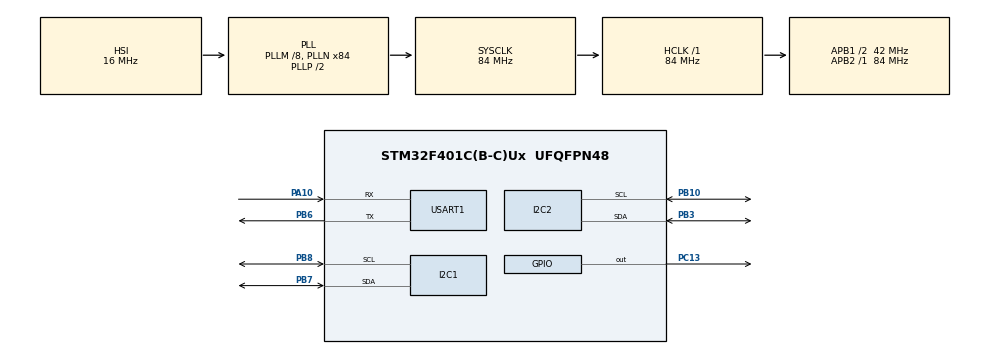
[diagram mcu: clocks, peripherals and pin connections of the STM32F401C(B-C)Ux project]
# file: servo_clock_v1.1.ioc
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Mcu.Family=STM32F4
Mcu.Name=STM32F401C(B-C)Ux
Mcu.Package=UFQFPN48
NVIC.PriorityGroup=NVIC_PRIORITYGROUP_4
NVIC.USART1_IRQn=true\:0\:0\:false\:false\:true\:true\:true
PA10.Mode=Asynchronous
PA10.Signal=USART1_RX
PA13.Mode=Serial_Wire
PA13.Signal=SYS_JTMS-SWDIO
PA14.Mode=Serial_Wire
PA14.Signal=SYS_JTCK-SWCLK
PB10.Mode=I2C
PB10.Signal=I2C2_SCL
PB3.Mode=I2C
PB3.Signal=I2C2_SDA
PB6.Mode=Asynchronous
PB6.Signal=USART1_TX
PB7.Mode=I2C
PB7.Signal=I2C1_SDA
PB8.Mode=I2C
PB8.Signal=I2C1_SCL
PC13-ANTI_TAMP.Signal=GPIO_Output
PH0\ -\ OSC_IN.Mode=HSE-External-Oscillator
PH0\ -\ OSC_IN.Signal=RCC_OSC_IN
PH1\ -\ OSC_OUT.Mode=HSE-External-Oscillator
PH1\ -\ OSC_OUT.Signal=RCC_OSC_OUT
ProjectManager.HeapSize=0x200
ProjectManager.StackSize=0x400
ProjectManager.TargetToolchain=STM32CubeIDE
RCC.48MHZClocksFreq_Value=42000000
RCC.AHBFreq_Value=84000000
RCC.APB1CLKDivider=RCC_HCLK_DIV2
RCC.APB1Freq_Value=42000000
RCC.APB1TimFreq_Value=84000000
RCC.APB2Freq_Value=84000000
RCC.APB2TimFreq_Value=84000000
RCC.CortexFreq_Value=84000000
RCC.HCLKFreq_Value=84000000
RCC.HSE_VALUE=25000000
RCC.HSI_VALUE=16000000
RCC.LSE_VALUE=32768
RCC.PLLM=8
RCC.PLLN=84
RCC.SYSCLKFreq_VALUE=84000000
RCC.SYSCLKSource=RCC_SYSCLKSOURCE_PLLCLK
RCC.VCOOutputFreq_Value=168000000
USART1.VirtualMode=VM_ASYNC
board=custom

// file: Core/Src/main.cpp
/* USER CODE BEGIN Header */
/**
  ******************************************************************************
  * @file           : main.c
  * @brief          : Main program body
  ******************************************************************************
  * @attention
  *
  * <h2><center>&copy; Copyright (c) 2021 STMicroelectronics.
  * All rights reserved.</center></h2>
  *
  * This software component is licensed by ST under BSD 3-Clause license,
  * the "License"; You may not use this file except in compliance with the
  * License. You may obtain a copy of the License at:
  *                        opensource.org/licenses/BSD-3-Clause
  *
  ******************************************************************************
  */
/* USER CODE END Header */
#include "main.h"
#include "i2c.h"
#include "usart.h"
#include "gpio.h"

/* USER CODE BEGIN Includes */
#include "ds3231.h"
#include "pca9685.h"
#include "stdio.h"
/* USER CODE END Includes */

/* USER CODE BEGIN PD */
#define PCA9685_SERVO_MODE
#define sleepDigits 11
/* USER CODE END PD */

/* USER CODE BEGIN PV */
//times
struct ts time;
//PWM on and off
int hourOFF[16] = {460,445,445,444,445,460,460,0,445,455,455,440,460,445,445,0};
int hourON[16]	= {266,255,250,245,260,266,271,0,250,265,260,250,280,250,260,0};
int minOFF[16]	= {450,455,435,460,445,455,435,0,440,460,430,440,465,445,435,0};
int minON[16]	= {252,263,252,279,248,260,243,0,253,280,245,245,282,260,240,0};
//Position values for each digit from 0 to 9 and ---- (sleep mode)
int digits[11][7] = {{1,1,1,1,1,1,0},{0,1,1,0,0,0,0},{1,1,0,1,1,0,1},{1,1,1,1,0,0,1},{0,1,1,0,0,1,1},
    {1,0,1,1,0,1,1},{1,0,1,1,1,1,1},{1,1,1,0,0,0,0},{1,1,1,1,1,1,1},{1,1,1,1,0,1,1},{0,0,0,0,0,0,0}};

int swTens, prevSwTens, sw, prevSw;
int secTens, prevSecTens, sec, prevSec;
int minTens, prevMinTens, min, prevMin;
int hourTens, prevHourTens, hour, prevHour;
int midOffset = 100;            //Amount by which adjacent segments to the middle move away when required
int tempHour, tempMin, tempSec;
bool setTimeFlag = true;
bool sleepModeState = false;
bool Switched = false;

/* USER CODE END PV */

void SystemClock_Config(void);
/* USER CODE BEGIN PFP */
pca8586 PWM_dev2(0x40<<1, &hi2c2); //class minutes digits
pca8586 PWM_dev1(0x41<<1, &hi2c2); //class hours digits
/* USER CODE END PFP */

/* USER CODE BEGIN 0 */
//sleep mode
void sleepMode()
{
	for (int j = 0; j <15; j++) {
		PWM_dev1.SetPwm(j, 0, hourOFF[j]);
		HAL_Delay(100);
	}
	for (int j = 0; j <15; j++) {
		PWM_dev2.SetPwm(j, 0, minOFF[j]);
		HAL_Delay(100);
	}
}
//update servo segments
//void updateDisplay()
//{
//
//}
//Function to move the middle segments and adjacent ones out of the way
void updateMid()
{
	//----------------------------------------------------//
	// Move adjacent segments for Minute and second units //
	//----------------------------------------------------//

	if (digits[swTens][6] != digits[prevSwTens][6]) {
		if (digits[prevSwTens][1] == 1)
			PWM_dev2.SetPwm(1, 0, minON[1] + midOffset);
		if (digits[prevSwTens][6] == 1)
			PWM_dev2.SetPwm(5, 0, minOFF[5] - midOffset);
	}
	HAL_Delay(100); //Delay allows adjacent segments to move before moving middle
	if (digits[swTens][6] == 1)  //Move Minute units middle segment if required
		PWM_dev2.SetPwm(6, 0, minON[6]);
	else
		PWM_dev2.SetPwm(6, 0, minOFF[6]);

	if (digits[sw][6] != digits[prevSw][6]) //Move adjacent segments for Minute tens
			{
		if (digits[prevSw][1] == 1)
			PWM_dev2.SetPwm(9, 0, minON[9] + midOffset);
		if (digits[prevSw][6] == 1)
			PWM_dev2.SetPwm(13, 0, minOFF[13] - midOffset);
	}
	HAL_Delay(100); //Delay allows adjacent segments to move before moving middle
	if (digits[sw][6] == 1)       //Move Minute tens middle segment if required
		PWM_dev2.SetPwm(14, 0, minON[14]);
	else
		PWM_dev2.SetPwm(14, 0, minOFF[14]);

	//====================================================================//

	//-----------------------------------------//
	//  Move adjacent segments for Hour units  //
	//-----------------------------------------//

	if (digits[hourTens][6] != digits[prevHourTens][6]) //Move adjacent segments for Minute units
			{
		if (digits[prevHourTens][1] == 1)
			PWM_dev1.SetPwm(1, 0, hourON[1] + midOffset);
		if (digits[prevHourTens][6] == 1)
			PWM_dev1.SetPwm(5, 0, hourOFF[5] - midOffset);
	}
	HAL_Delay(100); //Delay allows adjacent segments to move before moving middle
	if (digits[hourTens][6] == 1) //Move Minute units middle segment if required
		PWM_dev1.SetPwm(6, 0, hourON[6]);
	else
		PWM_dev1.SetPwm(6, 0, hourOFF[6]);

	if (digits[hour][6] != digits[prevHour][6]) //Move adjacent segments for Minute tens
			{
		if (digits[prevHour][1] == 1)
			PWM_dev1.SetPwm(9, 0, hourON[9] + midOffset);
		if (digits[prevHour][6] == 1)
			PWM_dev1.SetPwm(13, 0, hourOFF[13] - midOffset);
	}
	HAL_Delay(100); //Delay allows adjacent segments to move before moving middle
	if (digits[hour][6] == 1)      //Move Minute tens middle segment if required
		PWM_dev1.SetPwm(14, 0, hourON[14]);
	else
		PWM_dev1.SetPwm(14, 0, hourOFF[14]);
}
/* USER CODE END 0 */

int main(void)
{

  /* MCU Configuration--------------------------------------------------------*/

  /* Reset of all peripherals, Initializes the Flash interface and the Systick. */
  HAL_Init();

  /* Configure the system clock */
  SystemClock_Config();

  /* Initialize all configured peripherals */
  MX_GPIO_Init();
  MX_I2C1_Init();
  MX_I2C2_Init();
  MX_USART1_UART_Init();
  /* USER CODE BEGIN 2 */
  //Initial PWM drivers
  PWM_dev2.Init();
  PWM_dev1.Init();
  DS3231_IIC(&hi2c1);
  //off all digits
	for (int j = 0; j <15; j++) {
		PWM_dev1.SetPwm(j, 0, hourOFF[j]);
		HAL_Delay(80);
	}
	for (int j = 0; j <15; j++) {
		PWM_dev2.SetPwm(j, 0, minOFF[j]);
		HAL_Delay(80);
	}
	//set times (only once)
	//DS3231_setTime(55, 59, 23, 3, 8, 12, 21);
	DS3231_getTime(&time);//Get time
	//char data[20];
  /* USER CODE END 2 */

  /* Infinite loop */
  /* USER CODE BEGIN WHILE */
  while (1)
  {

		DS3231_getTime(&time);   //Get time
		tempHour = time.hour; 	 //Get the hours and save to variable
		tempMin = time.min;      //Get the minutes and save to variable
		tempSec = time.sec;      //Get the second and save to variable
		//switch minute to second at 11:58 for 2 minutes
		if (tempHour == 23 && tempMin >= 58 && tempMin <= 59) Switched = true;
		else Switched = false;
		//let it sleep from 7:00 PM to 6 AM
		if (tempHour >= 7 && tempHour <= 18) sleepModeState = true;
		else sleepModeState = false;
		//12 hour Mode
		if (tempHour > 12)
			tempHour = tempHour - 12;
		if(tempHour == 0)
			tempHour = 12;
		//Split hours into two digits, tens and units
		hourTens = tempHour / 10;
		hour = tempHour % 10;
		//Split minutes into two digits, tens and units
		minTens = tempMin / 10;
		min = tempMin % 10;
		//Split minutes into two digits, tens and units
		secTens = tempSec / 10;
		sec = tempSec % 10;

		if (Switched){
			swTens = secTens;
			sw = sec;
		}
		else{
			swTens = minTens;
			sw = min;
		}
		if (sleepModeState){
			sleepMode();
		}
		else{
			updateMid();
			for (int i = 0; i < 6; i++)             			//Move the remaining 6 segments
					{
				if (digits[hourTens][i] == 1)                 	//Update the hour tens
					PWM_dev1.SetPwm(i, 0, hourON[i]);
				else
					PWM_dev1.SetPwm(i, 0, hourOFF[i]);
				if (digits[hour][i] == 1)               		//Update the hour units
					PWM_dev1.SetPwm(i + 8, 0, hourON[i + 8]);
				else
					PWM_dev1.SetPwm(i + 8, 0, hourOFF[i + 8]);
				if (digits[swTens][i] == 1)             		//Update the minute tens
					PWM_dev2.SetPwm(i, 0, minON[i]);
				else
					PWM_dev2.SetPwm(i, 0, minOFF[i]);
				if (digits[sw][i] == 1)           				//Update the minute units
					PWM_dev2.SetPwm(i + 8, 0, minON[i + 8]);
				else
					PWM_dev2.SetPwm(i + 8, 0, minOFF[i + 8]);
			}
		}
			prevSwTens = swTens;
			prevSw = sw;
			prevHourTens = hourTens;
			prevHour = hour;
//	  sprintf(data,"H10: %d\n",hourTens);
//	  HAL_UART_Transmit(&huart1, (uint8_t*)data, sizeof(data), 1000);
//	  sprintf(data,"H: %d\n",hour);
//	  HAL_UART_Transmit(&huart1, (uint8_t*)data, sizeof(data), 1000);
//	  sprintf(data,"hour: %d\n",time.hour);
//	  HAL_UART_Transmit(&huart1, (uint8_t*)data, sizeof(data), 1000);
	  //HAL_UART_Transmit(&huart1, (uint8_t*)time.min, sizeof(time.min), 1000);
	  //HAL_UART_Transmit(&huart1, (uint8_t*)time.sec, sizeof(time.sec), 1000);
	  //HAL_Delay(500);
	  //HAL_GPIO_TogglePin(GPIOC, GPIO_PIN_13);
	  //HAL_Delay(1000);
    /* USER CODE END WHILE */

  }
}

void SystemClock_Config(void)
{
  RCC_OscInitTypeDef RCC_OscInitStruct = {0};
  RCC_ClkInitTypeDef RCC_ClkInitStruct = {0};

  /** Configure the main internal regulator output voltage
  */
  __HAL_RCC_PWR_CLK_ENABLE();
  __HAL_PWR_VOLTAGESCALING_CONFIG(PWR_REGULATOR_VOLTAGE_SCALE2);
  /** Initializes the RCC Oscillators according to the specified parameters
  * in the RCC_OscInitTypeDef structure.
  */
  RCC_OscInitStruct.OscillatorType = RCC_OSCILLATORTYPE_HSI;
  RCC_OscInitStruct.HSIState = RCC_HSI_ON;
  RCC_OscInitStruct.HSICalibrationValue = RCC_HSICALIBRATION_DEFAULT;
  RCC_OscInitStruct.PLL.PLLState = RCC_PLL_ON;
  RCC_OscInitStruct.PLL.PLLSource = RCC_PLLSOURCE_HSI;
  RCC_OscInitStruct.PLL.PLLM = 8;
  RCC_OscInitStruct.PLL.PLLN = 84;
  RCC_OscInitStruct.PLL.PLLP = RCC_PLLP_DIV2;
  RCC_OscInitStruct.PLL.PLLQ = 4;
  if (HAL_RCC_OscConfig(&RCC_OscInitStruct) != HAL_OK)
  {
    Error_Handler();
  }
  /** Initializes the CPU, AHB and APB buses clocks
  */
  RCC_ClkInitStruct.ClockType = RCC_CLOCKTYPE_HCLK|RCC_CLOCKTYPE_SYSCLK
                              |RCC_CLOCKTYPE_PCLK1|RCC_CLOCKTYPE_PCLK2;
  RCC_ClkInitStruct.SYSCLKSource = RCC_SYSCLKSOURCE_PLLCLK;
  RCC_ClkInitStruct.AHBCLKDivider = RCC_SYSCLK_DIV1;
  RCC_ClkInitStruct.APB1CLKDivider = RCC_HCLK_DIV2;
  RCC_ClkInitStruct.APB2CLKDivider = RCC_HCLK_DIV1;

  if (HAL_RCC_ClockConfig(&RCC_ClkInitStruct, FLASH_LATENCY_2) != HAL_OK)
  {
    Error_Handler();
  }
}

void Error_Handler(void)
{
  __disable_irq();
  while (1)
  {
  }
}

/************************ (C) COPYRIGHT STMicroelectronics *****END OF FILE****/
